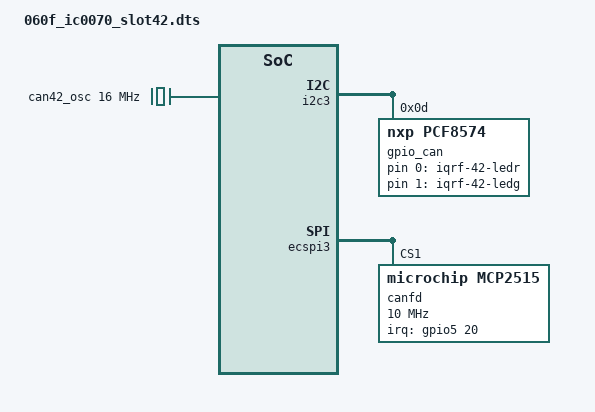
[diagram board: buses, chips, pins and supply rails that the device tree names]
/dts-v1/;


/plugin/;

/ {
	fragment@0 {
		target = <&i2c3>;
		__overlay__ {
			#address-cells = <1>;
			#size-cells = <0>;
			gpio_can: pca9501@13 {
				compatible = "nxp,pcf8574";
				gpio-controller;
				#gpio-cells = <2>;
				reg = <13>;
				gpio-line-names = "SLOT42_IQRF_BTN",
					"SLOT42_CANFD_LED0",
					"SLOT42_CANFD_LED1",
					"SLOT42_CANFD_RESET_N";
			};
		};
	};

	fragment@1 {
		target = <&ecspi3>;
		__overlay__ {
			status = "okay";
			#address-cells = <1>;
			#size-cells = <0>;

			canfd: spi@1 {
				compatible = "microchip,mcp2515";
				reg = <1>;
				status = "okay";
				spi-max-frequency = <10000000>;
				clocks = <&can42_osc>;
				pinctrl-names = "default";
				pinctrl-0 = <&pinctrl_slotirq0>;
				interrupt-parent = <&gpio5>;
				interrupts = <20 0>;
			};
		};
	};

	fragment@4 {
		target-path = "/";
		__overlay__ {
			led_slot42 {
				compatible = "gpio-leds";
				iqrf-led@1 {
					label = "iqrf-42-ledr";
					gpios = <&gpio_can 0 0>;
					default-state = "off";
					color = <1>;
				};
				iqrf-led@2 {
					label = "iqrf-42-ledg";
					gpios = <&gpio_can 1 0>;
					default-state = "off";
					color = <2>;
				};
			};
		}; 
	};

   fragment@5 {
       target-path = "/";
       __overlay__ {
           /* external oscillator of mcp2515 */
           can42_osc: can42_osc {
               compatible = "fixed-clock";
               #clock-cells = <0>;
               clock-frequency  = <16000000>;
           };
       };
   };

};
